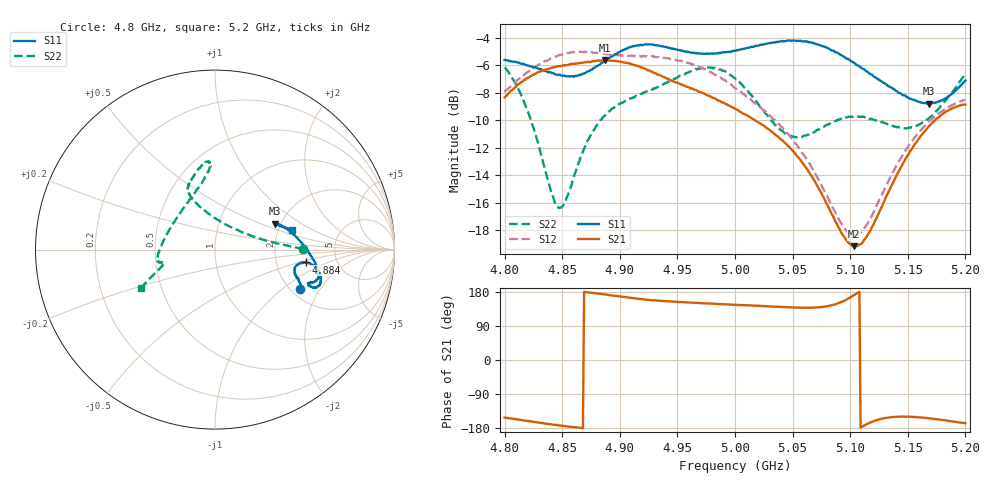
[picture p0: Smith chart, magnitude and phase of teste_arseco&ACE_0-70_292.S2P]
! Network Analyzer HP8722D
! Hewlett-Packard
! Data name: Linha & Wilkinson
! Saver's name: Rodrigo Anjos
! Comments: Teste da utilização de aquisição
! continua pelo VNA HP8722D
! Time and date: 8/5/2025 15:11
!  Frequency  S11  S21  S12  S22
# HZ  S  MA R 50
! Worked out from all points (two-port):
!   401 points, 4.8 GHz to 5.2 GHz, reference 50 ohm
!   highest |S21| = -5.61 dB at 4.887 GHz (marker M1); lowest = -19.2 dB at 5.103 GHz (marker M2)
!   |S21| within 3 dB of the highest: start of sweep to 4.987 GHz
!   lowest |S11| = -8.8 dB at 5.168 GHz (marker M3), VSWR 2.14, Z = 93.3 + j31 ohm
!   |S11| at or under -10 dB: nowhere
!   |S22| runs from -16.4 to -6.1 dB; largest |S21 - S12| = 1.1
!   S11 on the Smith chart (normalised r, x): 4.8 GHz: 2.24, -1.36; 4.884 GHz: 2.96, -0.57; 5.2 GHz: 2.36, +0.65
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4.8e9  0.5236 -24.9  0.3828 -152.1  0.4009 7.0  0.4922 0.7
4.82e9  0.5002 -20.5  0.4503 -160.7  0.4738 4.2  0.3415 6.1
4.842e9  0.4688 -17.1  0.491 -170.6  0.5326 0.7  0.1669 40.9
4.846e9  0.462 -16.3  0.4972 -172.1  0.5424 -0.1  0.1535 55.5
4.853e9  0.4569 -14.4  0.5002 -174.8  0.5537 -1.3  0.1613 80.8
4.867e9  0.4639 -10.8  0.5111 -179.7  0.5599 -3.5  0.2365 107.2
4.884e9  0.5106 -8.1  0.5204 174.1  0.5525 -4.4  0.3183 114.4
4.887e9  0.5205 -8.1  0.5244 172.9  0.5511 -4.3  0.3289 114.6
4.91e9  0.5843 -11.4  0.506 163.7  0.5427 -3.6  0.3794 113.2
4.934e9  0.5907 -17.0  0.4623 156.3  0.537 -4.4  0.4206 107.1
4.973e9  0.5524 -19.9  0.3957 149.5  0.487 -7.6  0.4908 95.6
5e9  0.5663 -21.0  0.3481 145.6  0.4139 -7.6  0.4495 94.2
5.042e9  0.612 -19.1  0.2649 139.8  0.2945 0.3  0.2869 129.7
5.067e9  0.606 -14.2  0.1966 138.2  0.2118 8.4  0.2843 165.2
5.092e9  0.5456 -5.3  0.1237 152.7  0.1339 31.8  0.3202 -174.2
5.103e9  0.5122 0.0  0.1101 170.7  0.1204 52.3  0.3261 -169.9
5.115e9  0.4744 6.2  0.1207 -168.5  0.1329 75.3  0.3229 -167.8
5.134e9  0.419 15.6  0.176 -151.3  0.1929 93.9  0.3038 -166.6
5.15e9  0.3835 21.4  0.2354 -149.7  0.2518 98.5  0.2967 -164.9
5.168e9  0.3635 23.4  0.2995 -154.0  0.3117 99.4  0.3207 -161.5
5.183e9  0.3803 20.7  0.3391 -159.6  0.3489 99.1  0.3737 -157.6
5.2e9  0.441 14.6  0.3603 -166.9  0.3757 99.7  0.4644 -152.5
